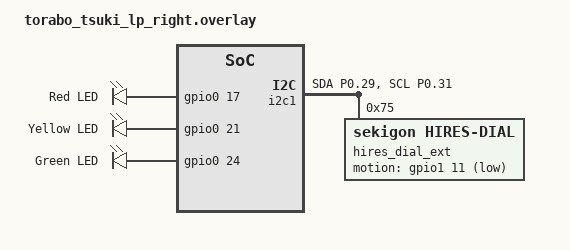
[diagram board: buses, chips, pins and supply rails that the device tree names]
#define TORABO_TSUKI_LP_RIGHT 1

#include "torabo_tsuki_lp.dtsi"
#include <input/processors.dtsi>
#include <dt-bindings/zmk/input_transform.h>
#include <dt-bindings/pinctrl/nrf-pinctrl.h>

&pointing_listener {
    input-processors = <&zip_xy_transform (INPUT_TRANSFORM_X_INVERT | INPUT_TRANSFORM_Y_INVERT)>;
    scroller {
        layers = <3>;
        input-processors = <
            &zip_xy_transform (INPUT_TRANSFORM_X_INVERT)
            &zip_xy_to_scroll_mapper
        >;
    };
};

&size_s_transform {
    col-offset = <7>;
};

&size_m_transform {
    col-offset = <7>;
};

&size_l_transform {
    col-offset = <7>;
};

/* --- ここから追加: 左手と同じI2Cピンとダイヤルハードウェアの定義 --- */
&pinctrl {
    i2c1_default_ext: i2c1_default_ext {
        group1 {
            psels = <NRF_PSEL(TWIM_SDA, 0, 29)>,
                    <NRF_PSEL(TWIM_SCL, 0, 31)>;
        };
    };
    i2c1_sleep_ext: i2c1_sleep_ext {
        group1 {
            psels = <NRF_PSEL(TWIM_SDA, 0, 29)>,
                    <NRF_PSEL(TWIM_SCL, 0, 31)>;
            low-power-enable;
        };
    };
};

&i2c1 {
    status = "okay";
    compatible = "nordic,nrf-twi";
    pinctrl-0 = <&i2c1_default_ext>;
    pinctrl-1 = <&i2c1_sleep_ext>;
    pinctrl-names = "default", "sleep";
    
    hires_dial_ext: hires_dial@75 {
        compatible = "sekigon,hires-dial";
        reg = <0x75>;
        /* ドライバ動作のための必須プロパティ */
        res-cpi = <1275>;
        counts-per-revolution = <1275>;
        motion-gpios = <&gpio1 11 (GPIO_ACTIVE_LOW | GPIO_PULL_UP)>;
    };
};
/* --- 追加ここまで --- */

/ {
    /* 右手側でもセンサーとして登録（モジュール換装時に機能します） */
    sensors: sensors {
        compatible = "zmk,keymap-sensors";
        sensors = <&hires_dial_ext>;
        triggers-per-rotation = <20>;
    };

    leds {
        compatible = "gpio-leds";
        
        ext_led_red: led_0 {
            gpios = <&gpio0 17 GPIO_ACTIVE_HIGH>;
            label = "Red LED";
        };

        ext_led_yellow: led_1 {
            gpios = <&gpio0 21 GPIO_ACTIVE_HIGH>;
            label = "Yellow LED";
        };

        ext_led_green: led_2 {
            gpios = <&gpio0 24 GPIO_ACTIVE_HIGH>;
            label = "Green LED";
        };
    };

    layer_leds {
        compatible = "zmk,behavior-layer-led";

        layer1_led {
            layers = <1>;
            leds = <&ext_led_yellow>;
        };

        layer2_led {
            layers = <2>;
            leds = <&ext_led_green>;
        };

        layer3_led {
            layers = <3>;
            leds = <&ext_led_red>;
        };
    };
};
